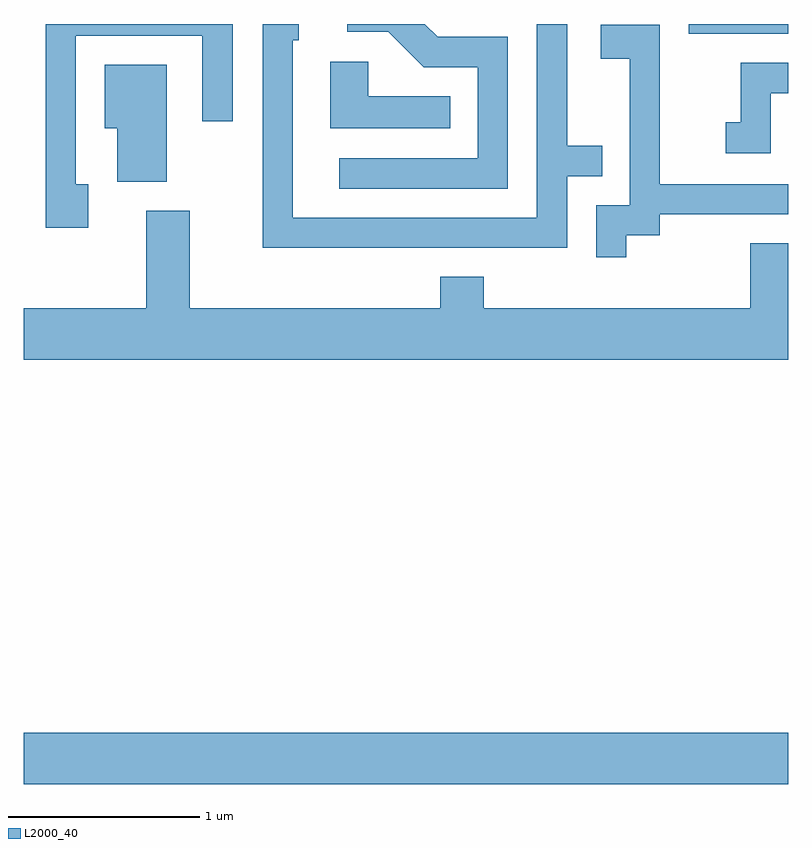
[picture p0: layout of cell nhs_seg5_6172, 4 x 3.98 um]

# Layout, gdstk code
import gdstk
lib = gdstk.Library(unit=1e-6, precision=1e-09)
def R(c, l, rs):  # rectangles x0, y0, x1, y1
    for r in rs: c.add(gdstk.rectangle(r[:2], r[2:], *l))
def P(c, l, *ps):  # polygons
    for p in ps: c.add(gdstk.Polygon(p, *l))
L2000_40 = (2000, 40)

nhs_seg5_6172 = lib.new_cell('nhs_seg5_6172')
R(nhs_seg5_6172, L2000_40, [(367.611,1490.096,371.611,1490.364), (371.091,1494.021,371.611,1494.072)])
P(nhs_seg5_6172, L2000_40, [(370.454,1493.276),(370.638,1493.276),(370.638,1493.434),(370.454,1493.434),(370.454,1494.072),(370.296,1494.072),(370.296,1493.059),(369.019,1493.059),(369.019,1493.986),(369.049,1493.986),(369.049,1494.072),(368.861,1494.072),(368.861,1492.901),(370.454,1492.901)],
  [(367.949,1493.234),(367.884,1493.234),(367.884,1494.011),(368.546,1494.011),(368.546,1493.563),(368.704,1493.563),(368.704,1494.072),(367.726,1494.072),(367.726,1493.006),(367.949,1493.006)],
  [(370.144,1494.004),(369.777,1494.004),(369.709,1494.072),(369.303,1494.072),(369.303,1494.031),(369.519,1494.031),(369.704,1493.846),(369.986,1493.846),(369.986,1493.369),(369.263,1493.369),(369.263,1493.211),(370.144,1493.211)],
  [(370.764,1492.966),(370.939,1492.966),(370.939,1493.076),(371.611,1493.076),(371.611,1493.234),(370.939,1493.234),(370.939,1494.069),(370.631,1494.069),(370.631,1493.891),(370.781,1493.891),(370.781,1493.124),(370.606,1493.124),(370.606,1492.853),(370.764,1492.853)],
  [(369.843,1493.694),(369.414,1493.694),(369.414,1493.874),(369.216,1493.874),(369.216,1493.526),(369.843,1493.526)],
  [(371.519,1493.711),(371.611,1493.711),(371.611,1493.869),(371.361,1493.869),(371.361,1493.559),(371.283,1493.559),(371.283,1493.396),(371.519,1493.396)],
  [(368.359,1493.859),(368.036,1493.859),(368.036,1493.526),(368.101,1493.526),(368.101,1493.246),(368.359,1493.246)],
  [(371.611,1492.924),(371.411,1492.924),(371.411,1492.584),(370.019,1492.584),(370.019,1492.749),(369.791,1492.749),(369.791,1492.584),(368.479,1492.584),(368.479,1493.094),(368.251,1493.094),(368.251,1492.584),(367.611,1492.584),(367.611,1492.316),(371.611,1492.316)])

lib.write_gds('nhs_seg5_6172.gds')
